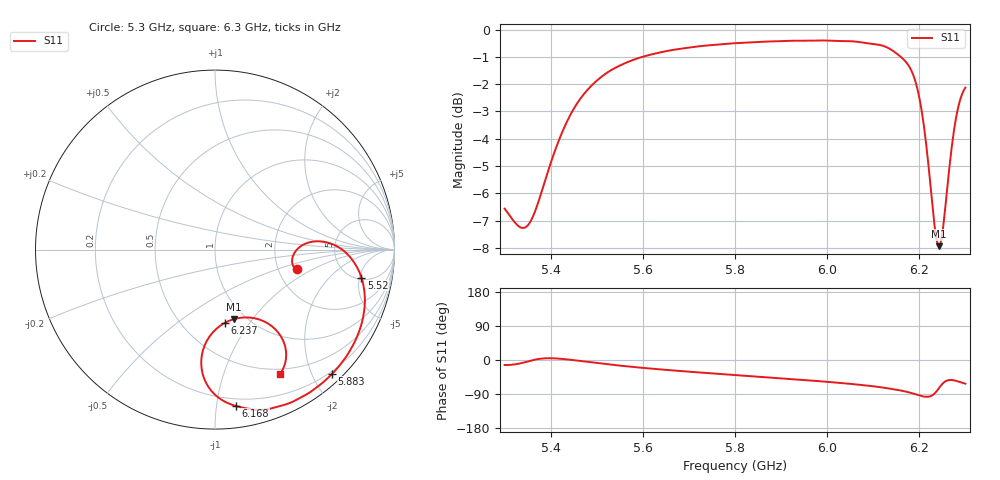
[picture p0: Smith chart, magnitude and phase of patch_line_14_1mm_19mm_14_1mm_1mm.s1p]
! Created with skrf 1.8.0 (http://scikit-rf.org).
# Hz S RI R 50.0
!freq ReS11 ImS11
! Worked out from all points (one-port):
!   401 points, 5.3 GHz to 6.3 GHz, reference 50 ohm
!   lowest |S11| = -7.9 dB at 6.242 GHz (marker M1), VSWR 2.34, Z = 44.3 - j40.8 ohm
!   |S11| at or under -10 dB: nowhere
!   S11 on the Smith chart (normalised r, x): 5.3 GHz: 2.55, -0.70; 5.52 GHz: 5.33, -5.37; 5.883 GHz: 0.16, -2.30; 6.168 GHz: 0.15, -1.13; 6.237 GHz: 0.78, -0.77; 6.3 GHz: 0.44, -1.56
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5.3e9  0.4576 -0.1076
5.3325e9  0.4296 -0.0704
5.355e9  0.4432 -0.0174
5.39e9  0.5344 0.0425
5.425e9  0.648 0.0326
5.47e9  0.7566 -0.0464
5.52e9  0.8161 -0.1559
5.55e9  0.8304 -0.2197
5.6025e9  0.8334 -0.3206
5.675e9  0.8088 -0.4391
5.8e9  0.7261 -0.6031
5.8825e9  0.6512 -0.6931
5.925e9  0.6066 -0.736
6.05e9  0.4339 -0.8473
6.1125e9  0.3014 -0.8877
6.1675e9  0.116 -0.8711
6.175e9  0.0818 -0.8595
6.195e9  -0.0231 -0.7835
6.2125e9  -0.0767 -0.6364
6.225e9  -0.0454 -0.5081
6.2375e9  0.0537 -0.4087
6.2425e9  0.1068 -0.3868
6.2475e9  0.1632 -0.3778
6.255e9  0.246 -0.3891
6.265e9  0.3358 -0.4437
6.2725e9  0.3779 -0.5032
6.285e9  0.3956 -0.6064
6.3e9  0.3614 -0.6943
